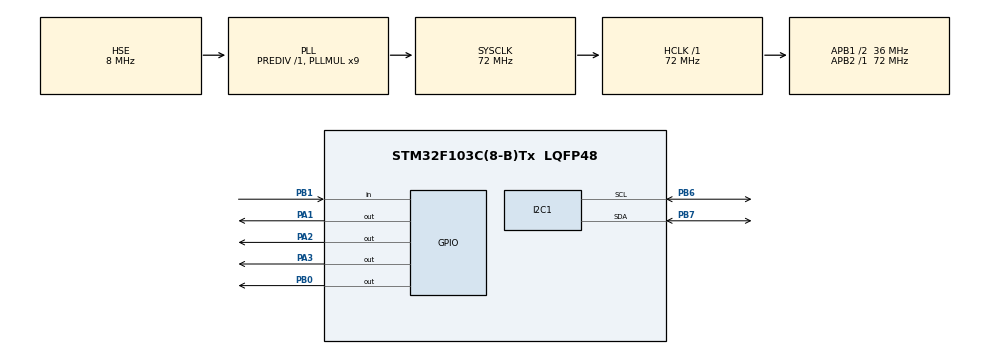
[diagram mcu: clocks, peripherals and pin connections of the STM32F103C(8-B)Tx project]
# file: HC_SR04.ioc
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Mcu.Family=STM32F1
Mcu.Name=STM32F103C(8-B)Tx
Mcu.Package=LQFP48
NVIC.PriorityGroup=NVIC_PRIORITYGROUP_4
PA1.Signal=GPIO_Output
PA13.Mode=Serial_Wire
PA13.Signal=SYS_JTMS-SWDIO
PA14.Mode=Serial_Wire
PA14.Signal=SYS_JTCK-SWCLK
PA2.Signal=GPIO_Output
PA3.Signal=GPIO_Output
PB0.Signal=GPIO_Output
PB1.Signal=GPIO_Input
PB6.Mode=I2C
PB6.Signal=I2C1_SCL
PB7.Mode=I2C
PB7.Signal=I2C1_SDA
PD0-OSC_IN.Mode=HSE-External-Oscillator
PD0-OSC_IN.Signal=RCC_OSC_IN
PD1-OSC_OUT.Mode=HSE-External-Oscillator
PD1-OSC_OUT.Signal=RCC_OSC_OUT
ProjectManager.HeapSize=0x200
ProjectManager.StackSize=0x400
ProjectManager.TargetToolchain=MDK-ARM V5.32
RCC.AHBFreq_Value=72000000
RCC.APB1CLKDivider=RCC_HCLK_DIV2
RCC.APB1Freq_Value=36000000
RCC.APB1TimFreq_Value=72000000
RCC.APB2Freq_Value=72000000
RCC.APB2TimFreq_Value=72000000
RCC.HCLKFreq_Value=72000000
RCC.PLLMUL=RCC_PLL_MUL9
RCC.PLLSourceVirtual=RCC_PLLSOURCE_HSE
RCC.SYSCLKFreq_VALUE=72000000
RCC.SYSCLKSource=RCC_SYSCLKSOURCE_PLLCLK
RCC.USBFreq_Value=72000000
board=custom

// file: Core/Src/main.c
/* USER CODE BEGIN Header */
/**
  ******************************************************************************
  * @file           : main.c
  * @brief          : Main program body
  ******************************************************************************
  * @attention
  *
  * Copyright (c) 2025 STMicroelectronics.
  * All rights reserved.
  *
  * This software is licensed under terms that can be found in the LICENSE file
  * in the root directory of this software component.
  * If no LICENSE file comes with this software, it is provided AS-IS.
  *
  ******************************************************************************
  */
/* USER CODE END Header */
#include "main.h"

/* USER CODE BEGIN Includes */
#include "liquidcrystal_i2c.h"
#include <stdio.h>
/* USER CODE END Includes */

/* USER CODE BEGIN PD */
/* Pin map (matches your CubeMX config) */
#define TRIG_GPIO      GPIOB
#define TRIG_PIN       GPIO_PIN_0
#define ECHO_GPIO      GPIOB
#define ECHO_PIN       GPIO_PIN_1

#define LED_G_GPIO     GPIOA
#define LED_G_PIN      GPIO_PIN_1   // Green  > 25 cm
#define LED_Y_GPIO     GPIOA
#define LED_Y_PIN      GPIO_PIN_2   // Yellow 10–25 cm
#define LED_R_GPIO     GPIOA
#define LED_R_PIN      GPIO_PIN_3   // Red    0–10 cm
/* USER CODE END PD */

I2C_HandleTypeDef hi2c1;

/* USER CODE BEGIN PV */
/* none */
/* USER CODE END PV */

void SystemClock_Config(void);
static void MX_GPIO_Init(void);
static void MX_I2C1_Init(void);
/* USER CODE BEGIN PFP */
static void DWT_Delay_Init(void);
static uint32_t micros(void);
static float HCSR04_ReadCM(void);
static void ShowRangeLEDs(float cm);
/* USER CODE END PFP */

/* USER CODE BEGIN 0 */
/* Enable DWT CYCCNT for microsecond timing */
static void DWT_Delay_Init(void)
{
  /* Enable TRC */
  CoreDebug->DEMCR |= CoreDebug_DEMCR_TRCENA_Msk;
  /* Reset the cycle counter */
  DWT->CYCCNT = 0;
  /* Enable the cycle counter */
  DWT->CTRL |= DWT_CTRL_CYCCNTENA_Msk;
}

/* Current time in microseconds using DWT->CYCCNT */
static uint32_t micros(void)
{
  /* SystemCoreClock is 72 MHz => ticks per us = 72 */
  return DWT->CYCCNT / (SystemCoreClock / 1000000U);
}

/* Trigger HC-SR04 and measure echo pulse width; returns distance in cm
   Negative values indicate timeout/error. */
static float HCSR04_ReadCM(void)
{
  /* Ensure TRIG low for at least 2 us */
  HAL_GPIO_WritePin(TRIG_GPIO, TRIG_PIN, GPIO_PIN_RESET);
  uint32_t t0 = micros();
  while ((micros() - t0) < 2U) {}

  /* 10 us TRIG pulse */
  HAL_GPIO_WritePin(TRIG_GPIO, TRIG_PIN, GPIO_PIN_SET);
  t0 = micros();
  while ((micros() - t0) < 10U) {}
  HAL_GPIO_WritePin(TRIG_GPIO, TRIG_PIN, GPIO_PIN_RESET);

  /* Wait for ECHO to go high (timeout ~30 ms) */
  uint32_t timeout = micros();
  while (HAL_GPIO_ReadPin(ECHO_GPIO, ECHO_PIN) == GPIO_PIN_RESET) {
    if ((micros() - timeout) > 30000U) return -1.0f; // no echo start
  }

  /* Measure high time */
  uint32_t start = micros();
  while (HAL_GPIO_ReadPin(ECHO_GPIO, ECHO_PIN) == GPIO_PIN_SET) {
    if ((micros() - start) > 30000U) return -2.0f; // echo too long/out of range
  }
  uint32_t pulse_us = micros() - start;

  /* HC-SR04 formula: distance (cm) ˜ pulse_us / 58.0 */
  return (float)pulse_us / 58.0f;
}

/* Drive LEDs according to distance bucket */
static void ShowRangeLEDs(float cm)
{
  GPIO_PinState g = GPIO_PIN_RESET, y = GPIO_PIN_RESET, r = GPIO_PIN_RESET;

  if (cm >= 0.0f && cm <= 400.0f) {
    if (cm > 25.0f)         g = GPIO_PIN_SET;
    else if (cm >= 10.0f)   y = GPIO_PIN_SET;
    else                    r = GPIO_PIN_SET;
  }
  HAL_GPIO_WritePin(LED_G_GPIO, LED_G_PIN, g);
  HAL_GPIO_WritePin(LED_Y_GPIO, LED_Y_PIN, y);
  HAL_GPIO_WritePin(LED_R_GPIO, LED_R_PIN, r);
}
/* USER CODE END 0 */

int main(void)
{

  /* MCU Configuration--------------------------------------------------------*/

  /* Reset of all peripherals, Initializes the Flash interface and the Systick. */
  HAL_Init();

  /* Configure the system clock */
  SystemClock_Config();

  /* USER CODE BEGIN SysInit */
  /* Optional: free JTAG pins, keep SWD */
  __HAL_AFIO_REMAP_SWJ_NOJTAG();
  /* Initialize DWT microsecond timer (LCD driver also uses DWT) */
  DWT_Delay_Init();
  /* USER CODE END SysInit */

  /* Initialize all configured peripherals */
  MX_GPIO_Init();
  MX_I2C1_Init();
  /* USER CODE BEGIN 2 */
  /* Initialize 16x2 LCD (rows=2). Make sure LCD I2C address in liquidcrystal_i2c.h matches your module. */
  HD44780_Init(2);
  HD44780_Clear();
  HD44780_SetCursor(0,0);
  HD44780_PrintStr("CSE331L HC-SR04");
  HAL_Delay(800);
  /* USER CODE END 2 */

  /* Infinite loop */
  /* USER CODE BEGIN WHILE */
  char line[17];
  while (1)
  {
    float cm = HCSR04_ReadCM();

    /* First row: distance */
    HD44780_SetCursor(0,0);
    if (cm < 0.0f || cm > 400.0f) {
      HD44780_PrintStr("Dist:   --- cm ");
    } else {
      /* "Dist: xxx.x cm " fits 16 chars */
      snprintf(line, sizeof(line), "Dist:%6.1f cm ", cm);
      HD44780_PrintStr(line);
    }

    /* LEDs by range + second row text */
    ShowRangeLEDs(cm);
    HD44780_SetCursor(0,1);
    if (cm < 0.0f || cm > 400.0f) {
      HD44780_PrintStr("Range: OUT     ");
    } else if (cm > 25.0f) {
      HD44780_PrintStr("LED: GREEN     ");
    } else if (cm >= 10.0f) {
      HD44780_PrintStr("LED: YELLOW    ");
    } else {
      HD44780_PrintStr("LED: RED       ");
    }

    HAL_Delay(150);
    /* USER CODE END WHILE */

  }
}

void SystemClock_Config(void)
{
  RCC_OscInitTypeDef RCC_OscInitStruct = {0};
  RCC_ClkInitTypeDef RCC_ClkInitStruct = {0};

  /** Initializes the RCC Oscillators according to the specified parameters
  * in the RCC_OscInitTypeDef structure.
  */
  RCC_OscInitStruct.OscillatorType = RCC_OSCILLATORTYPE_HSE;
  RCC_OscInitStruct.HSEState = RCC_HSE_ON;
  RCC_OscInitStruct.HSEPredivValue = RCC_HSE_PREDIV_DIV1;
  RCC_OscInitStruct.HSIState = RCC_HSI_ON;
  RCC_OscInitStruct.PLL.PLLState = RCC_PLL_ON;
  RCC_OscInitStruct.PLL.PLLSource = RCC_PLLSOURCE_HSE;
  RCC_OscInitStruct.PLL.PLLMUL = RCC_PLL_MUL9;
  if (HAL_RCC_OscConfig(&RCC_OscInitStruct) != HAL_OK)
  {
    Error_Handler();
  }

  /** Initializes the CPU, AHB and APB buses clocks
  */
  RCC_ClkInitStruct.ClockType = RCC_CLOCKTYPE_HCLK|RCC_CLOCKTYPE_SYSCLK
                              |RCC_CLOCKTYPE_PCLK1|RCC_CLOCKTYPE_PCLK2;
  RCC_ClkInitStruct.SYSCLKSource = RCC_SYSCLKSOURCE_PLLCLK;
  RCC_ClkInitStruct.AHBCLKDivider = RCC_SYSCLK_DIV1;
  RCC_ClkInitStruct.APB1CLKDivider = RCC_HCLK_DIV2;
  RCC_ClkInitStruct.APB2CLKDivider = RCC_HCLK_DIV1;

  if (HAL_RCC_ClockConfig(&RCC_ClkInitStruct, FLASH_LATENCY_2) != HAL_OK)
  {
    Error_Handler();
  }
}

static void MX_I2C1_Init(void)
{

  hi2c1.Instance = I2C1;
  hi2c1.Init.ClockSpeed = 100000;
  hi2c1.Init.DutyCycle = I2C_DUTYCYCLE_2;
  hi2c1.Init.OwnAddress1 = 0;
  hi2c1.Init.AddressingMode = I2C_ADDRESSINGMODE_7BIT;
  hi2c1.Init.DualAddressMode = I2C_DUALADDRESS_DISABLE;
  hi2c1.Init.OwnAddress2 = 0;
  hi2c1.Init.GeneralCallMode = I2C_GENERALCALL_DISABLE;
  hi2c1.Init.NoStretchMode = I2C_NOSTRETCH_DISABLE;
  if (HAL_I2C_Init(&hi2c1) != HAL_OK)
  {
    Error_Handler();
  }

}

static void MX_GPIO_Init(void)
{
  GPIO_InitTypeDef GPIO_InitStruct = {0};

  /* GPIO Ports Clock Enable */
  __HAL_RCC_GPIOD_CLK_ENABLE();
  __HAL_RCC_GPIOA_CLK_ENABLE();
  __HAL_RCC_GPIOB_CLK_ENABLE();

  /*Configure GPIO pin Output Level */
  HAL_GPIO_WritePin(GPIOA, GPIO_PIN_1|GPIO_PIN_2|GPIO_PIN_3, GPIO_PIN_RESET);

  /*Configure GPIO pin Output Level */
  HAL_GPIO_WritePin(GPIOB, GPIO_PIN_0, GPIO_PIN_RESET);

  /*Configure GPIO pins : PA1 PA2 PA3 */
  GPIO_InitStruct.Pin = GPIO_PIN_1|GPIO_PIN_2|GPIO_PIN_3;
  GPIO_InitStruct.Mode = GPIO_MODE_OUTPUT_PP;
  GPIO_InitStruct.Pull = GPIO_NOPULL;
  GPIO_InitStruct.Speed = GPIO_SPEED_FREQ_LOW;
  HAL_GPIO_Init(GPIOA, &GPIO_InitStruct);

  /*Configure GPIO pin : PB0 (TRIG) */
  GPIO_InitStruct.Pin = GPIO_PIN_0;
  GPIO_InitStruct.Mode = GPIO_MODE_OUTPUT_PP;
  GPIO_InitStruct.Pull = GPIO_NOPULL;
  GPIO_InitStruct.Speed = GPIO_SPEED_FREQ_LOW;
  HAL_GPIO_Init(GPIOB, &GPIO_InitStruct);

  /*Configure GPIO pin : PB1 (ECHO) */
  GPIO_InitStruct.Pin = GPIO_PIN_1;
  GPIO_InitStruct.Mode = GPIO_MODE_INPUT;
  GPIO_InitStruct.Pull = GPIO_NOPULL;
  HAL_GPIO_Init(GPIOB, &GPIO_InitStruct);

}

void Error_Handler(void)
{
  /* USER CODE BEGIN Error_Handler_Debug */
  /* User can add his own implementation to report the HAL error return state */
  __disable_irq();
  while (1)
  {
    /* Blink RED fast to indicate error (optional) */
    HAL_GPIO_TogglePin(LED_R_GPIO, LED_R_PIN);
    HAL_Delay(100);
  }
  /* USER CODE END Error_Handler_Debug */
}
